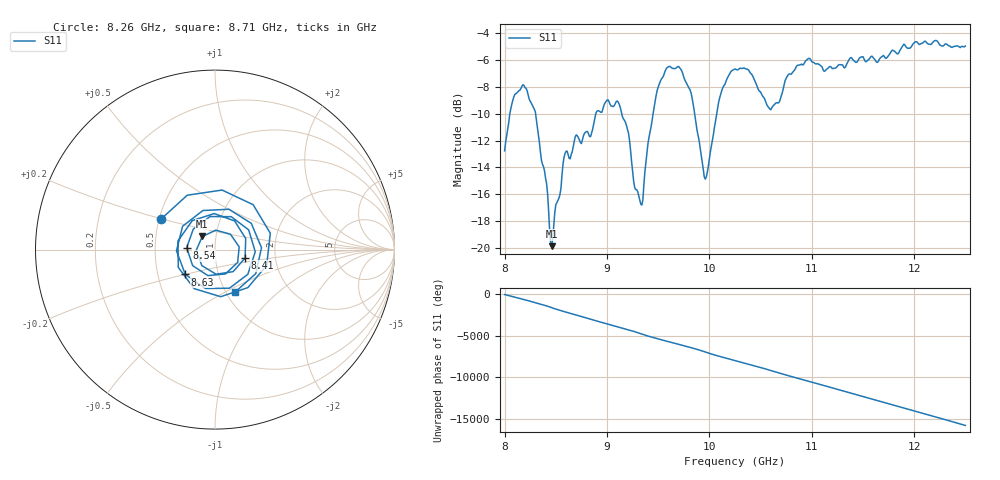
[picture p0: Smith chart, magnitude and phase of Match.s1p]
#  HZ  S  RI  R  50.00
! Rohde & Schwarz Vector Network Analyzer
! Rohde-Schwarz,ZNA43-4Port,1332450044101932,2.92
! Created: UTC 6/2/2026, 7:36:31 AM
! freq[Hz]  re:S11  im:S11
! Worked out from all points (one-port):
!   451 points, 8 GHz to 12.5 GHz, reference 50 ohm
!   lowest |S11| = -19.8 dB at 8.46 GHz (marker M1), VSWR 1.23, Z = 43 + j6.35 ohm
!   |S11| at or under -10 dB: 8.302 GHz to 8.891 GHz (588.3 MHz wide, 6.84 % of centre); 9.144 GHz to 9.45 GHz (306.4 MHz wide, 3.3 % of centre); 9.856 GHz to 10.07 GHz (216 MHz wide, 2.17 % of centre) (the widest 3 of 4)
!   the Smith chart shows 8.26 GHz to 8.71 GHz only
!   S11 on the Smith chart (normalised r, x): 8.26 GHz: 0.51, +0.20; 8.41 GHz: 1.39, -0.14; 8.54 GHz: 0.73, +0.02; 8.63 GHz: 0.69, -0.20; 8.71 GHz: 1.11, -0.56
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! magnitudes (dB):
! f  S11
! 8 GHz  -12.8
! 8.11 GHz  -8.5
! 8.19 GHz  -7.9
! 8.26 GHz  -9.2
! 8.41 GHz  -15.2
! 8.46 GHz  -19.8
! 8.54 GHz  -16.0
! 8.57 GHz  -13.8
! 8.63 GHz  -13.3
! 8.71 GHz  -11.7
! 8.84 GHz  -11.7
! 9 GHz  -9.0
! 9.13 GHz  -9.6
! 9.2 GHz  -11.2
! 9.27 GHz  -15.5
! 9.33 GHz  -16.7
! 9.5 GHz  -8.0
! 9.69 GHz  -6.5
! 9.82 GHz  -8.4
! 9.96 GHz  -14.9
! 10.11 GHz  -8.6
! 10.25 GHz  -6.7
! 10.39 GHz  -6.8
! 10.59 GHz  -9.7
! 10.82 GHz  -6.9
! 11.38 GHz  -5.8
! 11.94 GHz  -5.1
! 12.5 GHz  -5.0
